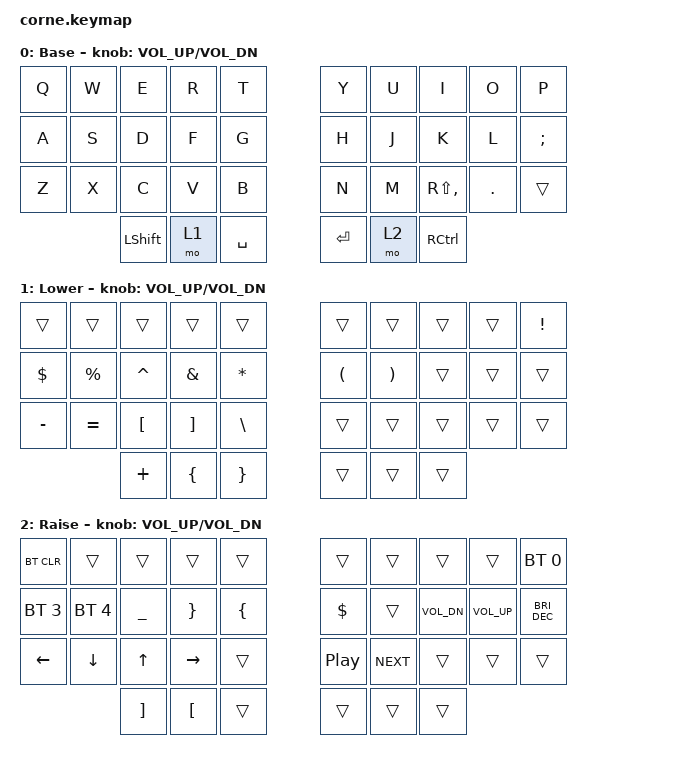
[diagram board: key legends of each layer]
/*
 * Copyright (c) 2020 The ZMK Contributors
 *
 * SPDX-License-Identifier: MIT
 */

#include <behaviors.dtsi>
#include <dt-bindings/zmk/bt.h>
#include <dt-bindings/zmk/keys.h>

/ {
    keymap {
        compatible = "zmk,keymap";

        default_layer {
            // ------------------------------------------------------------------------------------------------------------
            // |  TAB  |  Q  |  W  |  E   |  R   |  T   |                   |  Y   |  U    |  I    |  O   |   P   |   -   |
            // |  CTRL |  A  |  S  |  D   |  F   |  G   |                   |  H   |  J    |  K    |  L   |   ;   |   '   |
            // | SHIFT |  Z  |  X  |  C   |  V   |  B   |   "["  |  |  "]"  |  N   |  M    |  ,    |  .   |   /   | SHIFT |
            //                     | ALT  | GUI  | LOWER|  SPACE |  | ENTER | RAISE| BSPC  | GUI   |

            display-name = "Base";
            bindings = <
&kp Q  &kp W  &kp E           &kp R  &kp T        &kp Y      &kp U  &kp I          &kp O       &kp P
&kp A  &kp S  &kp D           &kp F  &kp G        &kp H      &kp J  &kp K          &kp L       &kp SEMICOLON
&kp Z  &kp X  &kp C           &kp V  &kp B        &kp N      &kp M  &kp RS(COMMA)  &kp PERIOD  &trans
              &kp LEFT_SHIFT  &mo 1  &kp SPACE    &kp ENTER  &mo 2  &kp RCTRL
            >;

            sensor-bindings = <&inc_dec_kp C_VOL_UP C_VOL_DN>;
        };

        lower_layer {
            // ------------------------------------------------------------------------------------------------------------
            // | BTCLR | BT1 | BT2 |  BT3 |  BT4 |  BT5 |                   |      |       |       |      |       |       |
            // |  F1   |  F2 |  F3 |  F4  |  F5  |  F6  |                   |  F7  |  F8   |  F9   |  F10 |  F11  |  F12  |
            // |   `   |  !  |  @  |  #   |  $   |  %   |                   |  ^   |  &    |  *    |  (   |   )   |   ~   |
            // |       |     |     |      |      |      |        |  |       |      |  _    |  +    |  {   |   }   |  "|"  |
            //                     |      |      |      |        |  |       |      |       |       |

            display-name = "Lower";
            bindings = <
&trans      &trans       &trans            &trans             &trans             &trans                &trans                 &trans  &trans  &kp EXCL
&kp DOLLAR  &kp PERCENT  &kp CARET         &kp AMPERSAND      &kp ASTERISK       &kp LEFT_PARENTHESIS  &kp RIGHT_PARENTHESIS  &trans  &trans  &trans
&kp MINUS   &kp EQUAL    &kp LEFT_BRACKET  &kp RIGHT_BRACKET  &kp BACKSLASH      &trans                &trans                 &trans  &trans  &trans
                         &kp PLUS          &kp LEFT_BRACE     &kp RIGHT_BRACE    &trans                &trans                 &trans
            >;

            sensor-bindings = <&inc_dec_kp C_VOL_UP C_VOL_DN>;
        };

        raise_layer {
            // ------------------------------------------------------------------------------------------------------------
            // |       |     |     |      |      |      |                   |      |       |       |      |       |       |
            // |   `   |  1  |  2  |  3   |  4   |  5   |                   |  6   |   7   |   8   |  9   |   0   |       |
            // |   F1  |  F2 |  F3 |  F4  |  F5  |  F6  |                   |      |   <-  |   v   |  ^   |  ->   |       |
            // |   F7  |  F8 |  F9 |  F10 |  F11 |  F12 |        |  |       |  +   |   -   |   =   |  [   |   ]   |   \   |
            //                     |      |      |      |        |  |       |      |       |       |

            display-name = "Raise";
            bindings = <
&bt BT_CLR      &trans          &trans             &trans            &trans            &trans            &trans      &trans        &trans           &bt BT_SEL 0
&bt BT_SEL 3    &bt BT_SEL 4    &kp UNDER          &kp RIGHT_BRACE   &kp LEFT_BRACE    &kp DOLLAR        &trans      &kp C_VOL_DN  &kp C_VOLUME_UP  &kp C_BRIGHTNESS_DEC
&kp LEFT_ARROW  &kp DOWN_ARROW  &kp UP_ARROW       &kp RIGHT_ARROW   &trans            &kp C_PLAY_PAUSE  &kp C_NEXT  &trans        &trans           &trans
                                &kp RIGHT_BRACKET  &kp LEFT_BRACKET  &trans            &trans            &trans      &trans
            >;

            sensor-bindings = <&inc_dec_kp C_VOL_UP C_VOL_DN>;
        };

        extra_1 { status = "reserved"; };

        extra_2 { status = "reserved"; };

        extra_3 { status = "reserved"; };
    };
};
